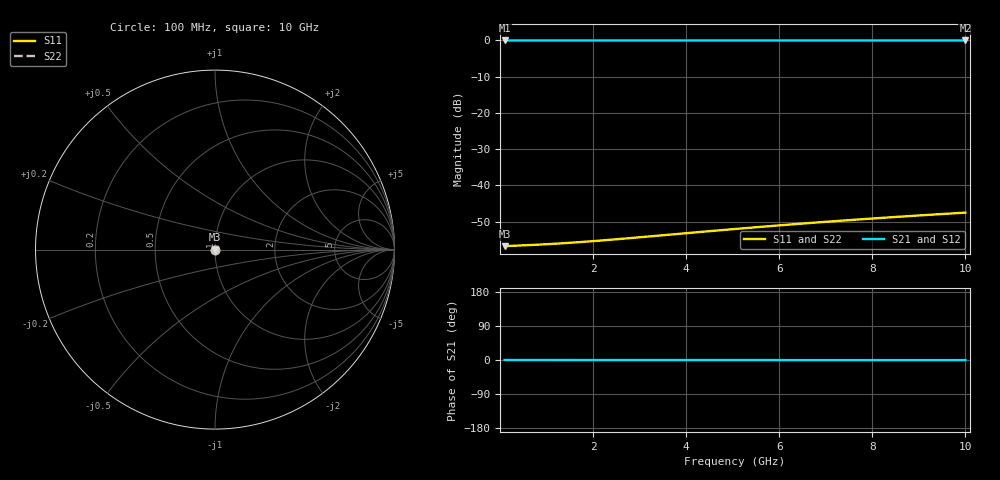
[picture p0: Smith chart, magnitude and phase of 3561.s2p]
# Hz S RI R 50.00
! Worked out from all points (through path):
!   100 points, 100 MHz to 10 GHz, reference 50 ohm
!   highest |S21| = -0.01 dB at 100 MHz (marker M1); lowest = 0.0 dB at 10 GHz (marker M2)
!   lowest |S11| = -56.7 dB at 100 MHz (marker M3), VSWR 1.00, Z = 50.1 + j0.00392 ohm
!   |S11| at or under -10 dB: start of sweep to end of sweep
!   |S22| runs from -56.7 to -47.5 dB; largest |S21 - S12| = 1e-15
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1e8  0.00145 3.91e-05  0.9985 -5.47e-05  0.9985 -5.47e-05  0.00145 3.91e-05
2e8  0.00146 7.81e-05  0.9985 -0.000109  0.9985 -0.000109  0.00146 7.81e-05
7e8  0.00149 0.000273  0.9985 -0.000383  0.9985 -0.000383  0.00149 0.000273
1e9  0.0015 0.000391  0.9985 -0.000547  0.9985 -0.000547  0.0015 0.000391
1.2e9  0.0015 0.000469  0.9985 -0.000656  0.9985 -0.000656  0.0015 0.000469
1.4e9  0.00151 0.000547  0.9985 -0.000766  0.9985 -0.000766  0.00151 0.000547
1.8e9  0.00152 0.000703  0.9985 -0.000985  0.9985 -0.000985  0.00152 0.000703
2.1e9  0.00152 0.00082  0.9985 -0.00115  0.9985 -0.00115  0.00152 0.00082
2.5e9  0.00153 0.000976  0.9985 -0.00137  0.9985 -0.00137  0.00153 0.000976
2.9e9  0.00153 0.00113  0.9985 -0.00159  0.9985 -0.00159  0.00153 0.00113
3.4e9  0.00154 0.00133  0.9985 -0.00186  0.9985 -0.00186  0.00154 0.00133
4.4e9  0.00155 0.00172  0.9985 -0.00241  0.9985 -0.00241  0.00155 0.00172
5.1e9  0.00155 0.00199  0.9984 -0.00279  0.9984 -0.00279  0.00155 0.00199
5.9e9  0.00156 0.0023  0.9984 -0.00323  0.9984 -0.00323  0.00156 0.0023
6.3e9  0.00156 0.00246  0.9984 -0.00345  0.9984 -0.00345  0.00156 0.00246
6.7e9  0.00157 0.00262  0.9984 -0.00367  0.9984 -0.00367  0.00157 0.00262
7.1e9  0.00157 0.00277  0.9984 -0.00388  0.9984 -0.00388  0.00157 0.00277
7.5e9  0.00157 0.00293  0.9984 -0.0041  0.9984 -0.0041  0.00157 0.00293
7.9e9  0.00158 0.00309  0.9984 -0.00432  0.9984 -0.00432  0.00158 0.00309
8.4e9  0.00158 0.00328  0.9984 -0.0046  0.9984 -0.0046  0.00158 0.00328
9.2e9  0.00159 0.00359  0.9984 -0.00503  0.9984 -0.00503  0.00159 0.00359
1e10  0.00159 0.00391  0.9984 -0.00547  0.9984 -0.00547  0.00159 0.00391
